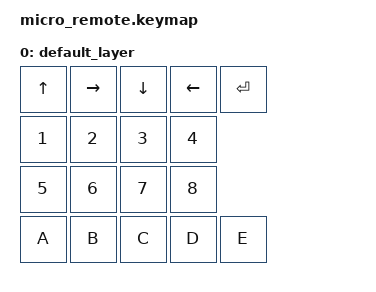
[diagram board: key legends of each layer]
#include <behaviors.dtsi>
#include <dt-bindings/zmk/keys.h>
#include <dt-bindings/zmk/bt.h>

/ {
    keymap {
        compatible = "zmk,keymap";

        default_layer {
            bindings = <
                &kp UP    &kp RIGHT &kp DOWN  &kp LEFT  &kp ENTER
                &kp N1    &kp N2    &kp N3    &kp N4
                &kp N5    &kp N6    &kp N7    &kp N8
                &kp A     &kp B     &kp C     &kp D     &kp E
            >;
        };
    };
};
